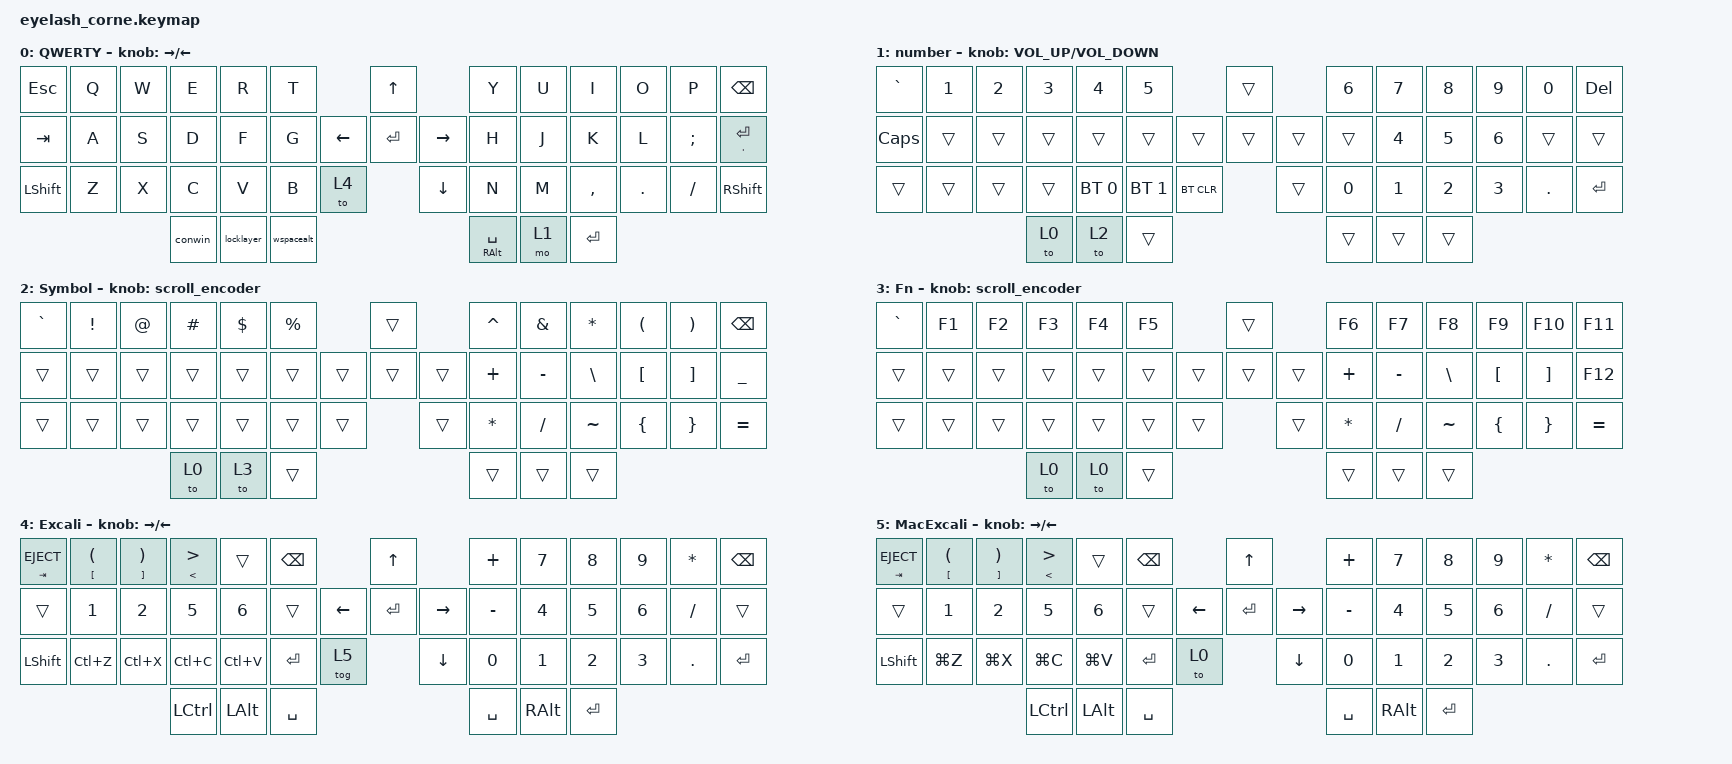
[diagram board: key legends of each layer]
#include <dt-bindings/zmk/mouse.h>
#include <input/processors.dtsi>
#include <behaviors.dtsi>
#include <dt-bindings/zmk/bt.h>
#include <dt-bindings/zmk/keys.h>
#include <dt-bindings/zmk/pointing.h>
#include <dt-bindings/zmk/rgb.h>

/*

   &mmv_input_listener {
       input-processors = <&zip_xy_scaler 2 1>;
   };

   &msc_input_listener {
       input-processors = <&zip_xy_scaler 2 1>;
   };

 */

#define ZMK_MOUSE_DEFAULT_MOVE_VAL 1200  // 600
#define ZMK_MOUSE_DEFAULT_SCRL_VAL 20    // 10

/ {
    behaviors {
        td0: shift_cap {
            compatible = "zmk,behavior-tap-dance";
            display-name = "Shift/Caps Lock Tap Dance";
            #binding-cells = <0>;
            bindings = <&kp LEFT_SHIFT>, <&kp CAPS>;

            label = "shift_cap";
        };

        ta: ta {
            compatible = "zmk,behavior-hold-tap";
            label = "TA";
            bindings = <&kp>, <&kp>;

            #binding-cells = <2>;
            tapping-term-ms = <250>;
        };

        conwin: conwin {
            compatible = "zmk,behavior-tap-dance";
            display-name = "Shift/Caps Lock Tap Dance";
            #binding-cells = <0>;
            bindings = <&kp LEFT_CONTROL>, <&kp LEFT_WIN>;

            label = "CONWIN";
        };

        locklayer: locklayer {
            compatible = "zmk,behavior-tap-dance";
            label = "LOCKLAYER";
            #binding-cells = <0>;
            bindings = <&mo 1>, <&to 1>;
        };

        wspacealt: wspacealt {
            compatible = "zmk,behavior-tap-dance";
            label = "WSPACEALT";
            #binding-cells = <0>;
            bindings = <&kp SPACE>, <&wspaceh LEFT_ALT 0>;
        };

        wspaceh: wspaceh {
            compatible = "zmk,behavior-hold-tap";
            label = "WSPACEH";
            bindings = <&kp>, <&wspace>;

            #binding-cells = <2>;
            tapping-term-ms = <175>;
        };
    };

    rgb_encoder: rgb_encoder {
        compatible = "zmk,behavior-sensor-rotate";
        #sensor-binding-cells = <0>;
        bindings = <&rgb_ug RGB_BRI>, <&rgb_ug RGB_BRD>;
    };

    scroll_encoder: scroll_encoder {
        compatible = "zmk,behavior-sensor-rotate";
        #sensor-binding-cells = <0>;
        bindings = <&msc SCRL_DOWN>, <&msc SCRL_UP>;

        tap-ms = <30>;
    };

    combos { compatible = "zmk,combos"; };

    macros {
        wspace: wspace {
            compatible = "zmk,behavior-macro";
            #binding-cells = <0>;
            bindings = <&kp SPACE &kp SPACE>;
            label = "WSPACE";
        };
    };

    keymap {
        compatible = "zmk,keymap";

        default_layer {
            display-name = "QWERTY";
            bindings = <
&kp ESCAPE  &kp Q  &kp W  &kp E    &kp R       &kp T                          &kp UP                &kp Y                &kp U  &kp I      &kp O    &kp P     &kp BACKSPACE
&kp TAB     &kp A  &kp S  &kp D    &kp F       &kp G                &kp LEFT  &kp ENTER  &kp RIGHT  &kp H                &kp J  &kp K      &kp L    &kp SEMI  &ta SQT ENTER
&kp LSHIFT  &kp Z  &kp X  &kp C    &kp V       &kp B       &to 4              &kp DOWN              &kp N                &kp M  &kp COMMA  &kp DOT  &kp FSLH  &kp RSHIFT
                          &conwin  &locklayer  &wspacealt                                           &ta RIGHT_ALT SPACE  &mo 1  &kp ENTER
            >;

            sensor-bindings = <&inc_dec_kp RIGHT_ARROW LEFT>;
        };

        NUMBER {
            bindings = <
&kp GRAVE  &kp N1  &kp N2  &kp N3  &kp N4        &kp N5                              &trans          &kp N6  &kp N7  &kp N8  &kp N9  &kp N0   &kp DELETE
&kp CAPS   &trans  &trans  &trans  &trans        &trans                      &trans  &trans  &trans  &trans  &kp N4  &kp N5  &kp N6  &trans   &trans
&trans     &trans  &trans  &trans  &bt BT_SEL 0  &bt BT_SEL 1  &bt BT_CLR            &trans          &kp N0  &kp N1  &kp N2  &kp N3  &kp DOT  &kp ENTER
                           &to 0   &to 2         &trans                                              &trans  &trans  &trans
            >;

            label = "number";
            sensor-bindings = <&inc_dec_kp C_VOLUME_UP C_VOLUME_DOWN>;
        };

        Symbol {
            bindings = <
&kp GRAVE  &kp EXCLAMATION  &kp AT_SIGN  &kp HASH  &kp DOLLAR  &kp PERCENT                    &trans          &kp CARET  &kp AMPERSAND  &kp ASTERISK  &kp LEFT_PARENTHESIS  &kp RIGHT_PARENTHESIS  &kp BACKSPACE
&trans     &trans           &trans       &trans    &trans      &trans                 &trans  &trans  &trans  &kp PLUS   &kp MINUS      &kp BSLH      &kp LEFT_BRACKET      &kp RIGHT_BRACKET      &kp UNDERSCORE
&trans     &trans           &trans       &trans    &trans      &trans       &trans            &trans          &kp ASTRK  &kp SLASH      &kp TILDE     &kp LEFT_BRACE        &kp RIGHT_BRACE        &kp EQUAL
                                         &to 0     &to 3       &trans                                         &trans     &trans         &trans
            >;

            label = "Symbol";
            sensor-bindings = <&scroll_encoder>;
        };

        Fn {
            bindings = <
&kp GRAVE  &kp F1  &kp F2  &kp F3  &kp F4  &kp F5                    &trans          &kp F6     &kp F7     &kp F8     &kp F9            &kp F10            &kp F11
&trans     &trans  &trans  &trans  &trans  &trans            &trans  &trans  &trans  &kp PLUS   &kp MINUS  &kp BSLH   &kp LEFT_BRACKET  &kp RIGHT_BRACKET  &kp F12
&trans     &trans  &trans  &trans  &trans  &trans  &trans            &trans          &kp ASTRK  &kp SLASH  &kp TILDE  &kp LEFT_BRACE    &kp RIGHT_BRACE    &kp EQUAL
                           &to 0   &to 0   &trans                                    &trans     &trans     &trans
            >;

            label = "Fn";
            sensor-bindings = <&scroll_encoder>;
        };

        Excali {
            bindings = <
&ta TAB C_EJECT  &ta LEFT_BRACKET LEFT_PARENTHESIS  &ta RIGHT_BRACKET RIGHT_PARENTHESIS  &ta LESS_THAN GREATER_THAN  &trans     &kp BACKSPACE                      &kp UP               &kp PLUS   &kp N7    &kp N8     &kp N9  &kp ASTRK  &kp BSPC
&trans           &kp N1                             &kp N2                               &kp N5                      &kp N6     &trans                   &kp LEFT  &kp RET   &kp RIGHT  &kp MINUS  &kp N4    &kp N5     &kp N6  &kp FSLH   &trans
&kp LSHFT        &kp LC(Z)                          &kp LC(X)                            &kp LC(C)                   &kp LC(V)  &kp ENTER      &tog 5              &kp DOWN             &kp N0     &kp N1    &kp N2     &kp N3  &kp DOT    &kp RET
                                                                                         &kp LCTRL                   &kp LALT   &kp SPACE                                               &kp SPACE  &kp RALT  &kp ENTER
            >;

            label = "Excali";
            sensor-bindings = <&inc_dec_kp RIGHT LEFT>;
        };

        MacExcali {
            bindings = <
&ta TAB C_EJECT  &ta LEFT_BRACKET LEFT_PARENTHESIS  &ta RIGHT_BRACKET RIGHT_PARENTHESIS  &ta LESS_THAN GREATER_THAN  &trans     &kp BACKSPACE                     &kp UP               &kp PLUS   &kp N7    &kp N8     &kp N9  &kp ASTRK  &kp BSPC
&trans           &kp N1                             &kp N2                               &kp N5                      &kp N6     &trans                  &kp LEFT  &kp RET   &kp RIGHT  &kp MINUS  &kp N4    &kp N5     &kp N6  &kp FSLH   &trans
&kp LSHFT        &kp LG(Z)                          &kp LG(X)                            &kp LG(C)                   &kp LG(V)  &kp ENTER      &to 0              &kp DOWN             &kp N0     &kp N1    &kp N2     &kp N3  &kp DOT    &kp RET
                                                                                         &kp LCTRL                   &kp LALT   &kp SPACE                                              &kp SPACE  &kp RALT  &kp ENTER
            >;

            label = "MacExcali";
            sensor-bindings = <&inc_dec_kp RIGHT LEFT>;
        };
    };

    conditional_layers { compatible = "zmk,conditional-layers"; };
};
